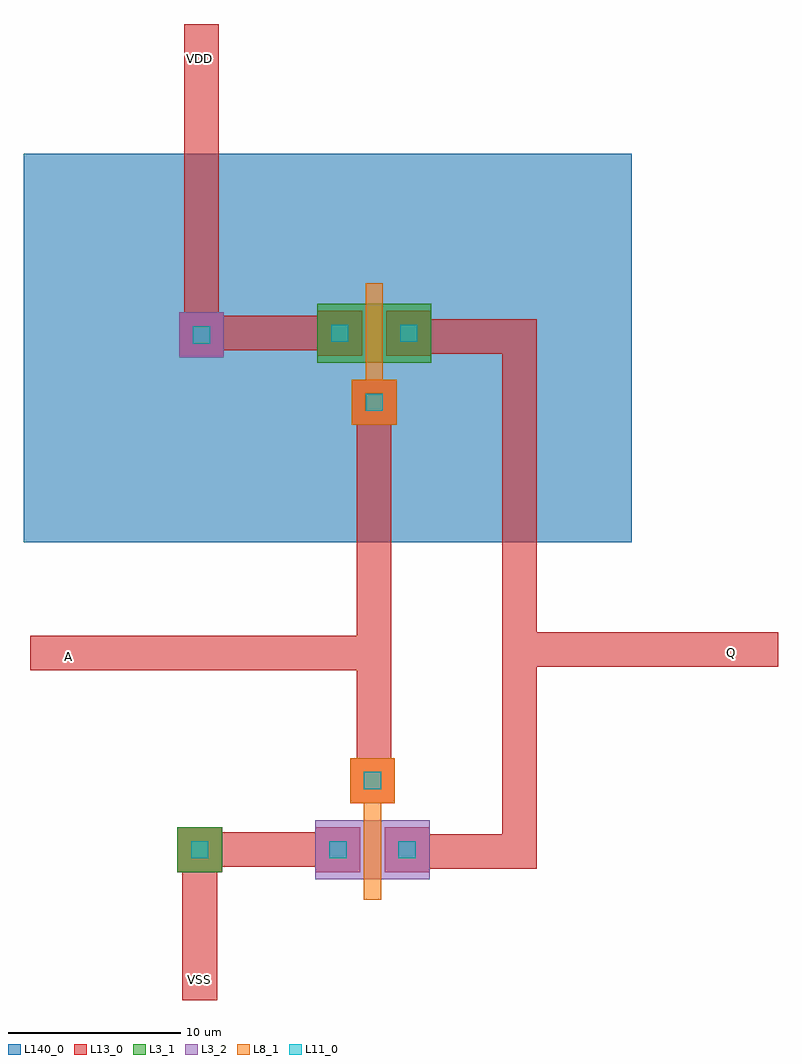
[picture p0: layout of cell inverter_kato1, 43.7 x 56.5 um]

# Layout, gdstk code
from math import pi, radians
import gdstk
lib = gdstk.Library(unit=1e-6, precision=1e-07)
def R(c, l, rs):  # rectangles x0, y0, x1, y1
    for r in rs: c.add(gdstk.rectangle(r[:2], r[2:], *l))
L3_1 = (3, 1)
L3_2 = (3, 2)
L8_1 = (8, 1)
L11_0 = (11, 0)
L13_0 = (13, 0)
L140_0 = (140, 0)

fet_p = lib.new_cell('fet_p')
R(fet_p, L3_1, [(-3.3,-1.7,3.3,1.7)])
R(fet_p, L11_0, [(-2.5,-0.5,-1.5,0.5), (1.5,-0.5,2.5,0.5)])
R(fet_p, L13_0, [(-3.3,-1.3,-0.7,1.3), (0.7,-1.3,3.3,1.3)])
fet_p.add(gdstk.FlexPath([(0,-2.9),(0,2.9)], 1, ends="flush", simple_path=True, layer=8, datatype=1))  # L8_1

fet_n = lib.new_cell('fet_n')
R(fet_n, L3_2, [(-3.3,-1.7,3.3,1.7)])
R(fet_n, L11_0, [(-2.5,-0.5,-1.5,0.5), (1.5,-0.5,2.5,0.5)])
R(fet_n, L13_0, [(-3.3,-1.3,-0.7,1.3), (0.7,-1.3,3.3,1.3)])
fet_n.add(gdstk.FlexPath([(0,-2.9),(0,2.9)], 1, ends="flush", simple_path=True, layer=8, datatype=1))  # L8_1

cont_g = lib.new_cell('cont_g')
R(cont_g, L8_1, [(-1.3,-1.3,1.3,1.3)])
R(cont_g, L11_0, [(-0.5,-0.5,0.5,0.5)])
R(cont_g, L13_0, [(-1.3,-1.3,1.3,1.3)])

cont_n = lib.new_cell('cont_n')
R(cont_n, L3_2, [(-1.3,-1.3,1.3,1.3)])
R(cont_n, L11_0, [(-0.5,-0.5,0.5,0.5)])
R(cont_n, L13_0, [(-1.3,-1.3,1.3,1.3)])

cont_p = lib.new_cell('cont_p')
R(cont_p, L3_1, [(-1.3,-1.3,1.3,1.3)])
R(cont_p, L11_0, [(-0.5,-0.5,0.5,0.5)])
R(cont_p, L13_0, [(-1.3,-1.3,1.3,1.3)])

inverter_kato1 = lib.new_cell('inverter_kato1')
R(inverter_kato1, L140_0, [(-22.7,-7.5,12.5,15)])
inverter_kato1.add(gdstk.FlexPath([(-3.9,4.6),(-12.4,4.6),(-12.4,22.5),(-12.4,22.5),(-12.4,22.5)], 2, ends="flush", simple_path=True, layer=13, datatype=0))  # L13_0
inverter_kato1.add(gdstk.FlexPath([(-2.4,1.2),(-2.4,-21.8),(-2.4,-21.8)], 2, ends="flush", simple_path=True, layer=13, datatype=0))  # L13_0
inverter_kato1.add(gdstk.FlexPath([(-1,-25.4),(6,-25.4),(6,4.4),(-0.7,4.4)], 2, ends="flush", simple_path=True, layer=13, datatype=0))  # L13_0
inverter_kato1.add(gdstk.FlexPath([(-4.1,-25.3),(-12.5,-25.3),(-12.5,-34)], 2, ends="flush", simple_path=True, layer=13, datatype=0))  # L13_0
inverter_kato1.add(gdstk.FlexPath([(-2.4,-13.9),(-22.3,-13.9)], 2, ends="flush", simple_path=True, layer=13, datatype=0))  # L13_0
inverter_kato1.add(gdstk.FlexPath([(5.9,-13.7),(21,-13.7)], 2, ends="flush", simple_path=True, layer=13, datatype=0))  # L13_0
inverter_kato1.add(gdstk.Reference(fet_p, (-2.4,4.6), rotation=pi))
inverter_kato1.add(gdstk.Reference(fet_n, (-2.5,-25.3), rotation=pi))
inverter_kato1.add(gdstk.Reference(cont_g, (-2.4,0.6), rotation=pi))
inverter_kato1.add(gdstk.Reference(cont_n, (-12.4,4.5), rotation=pi))
inverter_kato1.add(gdstk.Reference(cont_g, (-2.5,-21.3), rotation=pi))
inverter_kato1.add(gdstk.Reference(cont_p, (-12.5,-25.3), rotation=pi))
inverter_kato1.add(gdstk.Label('A', (-20.1,-14.1), layer=13, texttype=0))
inverter_kato1.add(gdstk.Label('Q', (18.3,-13.9), layer=13, texttype=0))
inverter_kato1.add(gdstk.Label('VDD', (-12.5,20.5), layer=13, texttype=0))
inverter_kato1.add(gdstk.Label('VSS', (-12.5,-32.8), layer=13, texttype=0))

lib.write_gds('inverter_kato1.gds')
